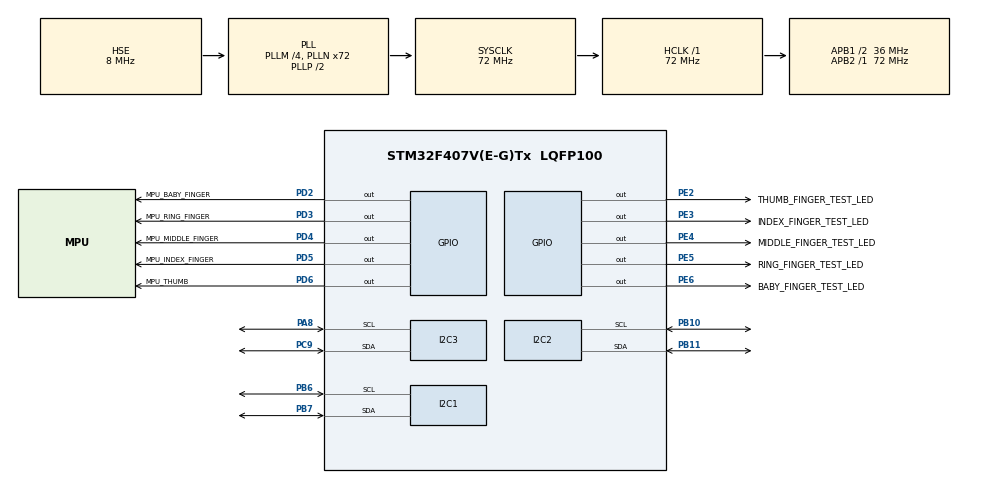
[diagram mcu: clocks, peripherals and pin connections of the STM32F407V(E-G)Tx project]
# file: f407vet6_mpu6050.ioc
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Mcu.Family=STM32F4
Mcu.Name=STM32F407V(E-G)Tx
Mcu.Package=LQFP100
NVIC.PriorityGroup=NVIC_PRIORITYGROUP_4
PA8.Mode=I2C
PA8.Signal=I2C3_SCL
PB10.Mode=I2C
PB10.Signal=I2C2_SCL
PB11.Mode=I2C
PB11.Signal=I2C2_SDA
PB6.Mode=I2C
PB6.Signal=I2C1_SCL
PB7.Mode=I2C
PB7.Signal=I2C1_SDA
PC9.Mode=I2C
PC9.Signal=I2C3_SDA
PD2.GPIO_Label=MPU_BABY_FINGER
PD2.PinState=GPIO_PIN_SET
PD2.Signal=GPIO_Output
PD3.GPIO_Label=MPU_RING_FINGER
PD3.Signal=GPIO_Output
PD4.GPIO_Label=MPU_MIDDLE_FINGER
PD4.PinState=GPIO_PIN_SET
PD4.Signal=GPIO_Output
PD5.GPIO_Label=MPU_INDEX_FINGER
PD5.Signal=GPIO_Output
PD6.GPIO_Label=MPU_THUMB
PD6.PinState=GPIO_PIN_SET
PD6.Signal=GPIO_Output
PE2.GPIO_Label=THUMB_FINGER_TEST_LED
PE2.Signal=GPIO_Output
PE3.GPIO_Label=INDEX_FINGER_TEST_LED
PE3.Signal=GPIO_Output
PE4.GPIO_Label=MIDDLE_FINGER_TEST_LED
PE4.Signal=GPIO_Output
PE5.GPIO_Label=RING_FINGER_TEST_LED
PE5.Signal=GPIO_Output
PE6.GPIO_Label=BABY_FINGER_TEST_LED
PE6.Signal=GPIO_Output
PH0-OSC_IN.Mode=HSE-External-Oscillator
PH0-OSC_IN.Signal=RCC_OSC_IN
PH1-OSC_OUT.Mode=HSE-External-Oscillator
PH1-OSC_OUT.Signal=RCC_OSC_OUT
ProjectManager.HeapSize=0x200
ProjectManager.StackSize=0x400
ProjectManager.TargetToolchain=STM32CubeIDE
RCC.48MHZClocksFreq_Value=36000000
RCC.AHBFreq_Value=72000000
RCC.APB1CLKDivider=RCC_HCLK_DIV2
RCC.APB1Freq_Value=36000000
RCC.APB1TimFreq_Value=72000000
RCC.APB2Freq_Value=72000000
RCC.APB2TimFreq_Value=72000000
RCC.CortexFreq_Value=72000000
RCC.HCLKFreq_Value=72000000
RCC.HSE_VALUE=8000000
RCC.HSI_VALUE=16000000
RCC.LSE_VALUE=32768
RCC.PLLM=4
RCC.PLLN=72
RCC.PLLSourceVirtual=RCC_PLLSOURCE_HSE
RCC.SYSCLKFreq_VALUE=72000000
RCC.SYSCLKSource=RCC_SYSCLKSOURCE_PLLCLK
RCC.VCOOutputFreq_Value=144000000
board=custom

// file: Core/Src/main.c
/* USER CODE BEGIN Header */
/**
  ******************************************************************************
  * @file           : main.c
  * @brief          : Main program body
  ******************************************************************************
  * @attention
  *
  * Copyright (c) 2025 STMicroelectronics.
  * All rights reserved.
  *
  * This software is licensed under terms that can be found in the LICENSE file
  * in the root directory of this software component.
  * If no LICENSE file comes with this software, it is provided AS-IS.
  *
  ******************************************************************************
  */
/* USER CODE END Header */
#include "main.h"

/* USER CODE BEGIN Includes */
#include <mpu5060.h>
/* USER CODE END Includes */

I2C_HandleTypeDef hi2c1;
I2C_HandleTypeDef hi2c2;
I2C_HandleTypeDef hi2c3;

/* USER CODE BEGIN PV */
//TODO: THESE ARE VARIABLES FOR DEBUGGING, THIS SHOULD BE REMOVED IN THE FUTURE
int16_t GYRO_X_THUMB = 0;
int16_t GYRO_Y_THUMB = 0;
int16_t GYRO_Z_THUMB = 0;
int16_t ACCEL_X_THUMB = 0;
int16_t ACCEL_Y_THUMB = 0;
int16_t ACCEL_Z_THUMB = 0;

int16_t GYRO_X_INDEX = 0;
int16_t GYRO_Y_INDEX = 0;
int16_t GYRO_Z_INDEX = 0;
int16_t ACCEL_X_INDEX = 0;
int16_t ACCEL_Y_INDEX = 0;
int16_t ACCEL_Z_INDEX = 0;

int16_t GYRO_X_MIDDLE = 0;
int16_t GYRO_Y_MIDDLE = 0;
int16_t GYRO_Z_MIDDLE = 0;
int16_t ACCEL_X_MIDDLE = 0;
int16_t ACCEL_Y_MIDDLE = 0;
int16_t ACCEL_Z_MIDDLE = 0;

int16_t GYRO_X_RING = 0;
int16_t GYRO_Y_RING = 0;
int16_t GYRO_Z_RING = 0;
int16_t ACCEL_X_RING = 0;
int16_t ACCEL_Y_RING = 0;
int16_t ACCEL_Z_RING = 0;

int16_t GYRO_X_BABY = 0;
int16_t GYRO_Y_BABY = 0;
int16_t GYRO_Z_BABY = 0;
int16_t ACCEL_X_BABY = 0;
int16_t ACCEL_Y_BABY = 0;
int16_t ACCEL_Z_BABY = 0;
/* USER CODE END PV */

void SystemClock_Config(void);
static void MX_GPIO_Init(void);
static void MX_I2C1_Init(void);
static void MX_I2C2_Init(void);
static void MX_I2C3_Init(void);

int main(void)
{

  /* MCU Configuration--------------------------------------------------------*/

  /* Reset of all peripherals, Initializes the Flash interface and the Systick. */
  HAL_Init();

  /* Configure the system clock */
  SystemClock_Config();

  /* Initialize all configured peripherals */
  MX_GPIO_Init();
  MX_I2C1_Init();
  MX_I2C2_Init();
  MX_I2C3_Init();
  /* USER CODE BEGIN 2 */
  DataLeftHand left_hand;

  mpu5060_check_sensors();
  mpu5060_register_configuration();
  /* USER CODE END 2 */

  /* Infinite loop */
  /* USER CODE BEGIN WHILE */
  while (1)
  {
	  mpu_5060_read_gyro(&left_hand);

	  //TODO: THESE ARE VARIABLES FOR DEBUGGING, THIS SHOULD BE REMOVED IN THE FUTURE
	  GYRO_X_THUMB = left_hand.GYRO_DATA_X_THUMB;
	  GYRO_Y_THUMB = left_hand.GYRO_DATA_Y_THUMB;
	  GYRO_Z_THUMB = left_hand.GYRO_DATA_Z_THUMB;
	  ACCEL_X_THUMB = left_hand.ACCEL_DATA_X_THUMB;
	  ACCEL_Y_THUMB = left_hand.ACCEL_DATA_Y_THUMB;
	  ACCEL_Z_THUMB = left_hand.ACCEL_DATA_Z_THUMB;

	  GYRO_X_INDEX = left_hand.GYRO_DATA_X_INDEX;
	  GYRO_Y_INDEX = left_hand.GYRO_DATA_Y_INDEX;
	  GYRO_Z_INDEX = left_hand.GYRO_DATA_Z_INDEX;
	  ACCEL_X_INDEX = left_hand.ACCEL_DATA_X_INDEX;
	  ACCEL_Y_INDEX = left_hand.ACCEL_DATA_Y_INDEX;
	  ACCEL_Z_INDEX = left_hand.ACCEL_DATA_Z_INDEX;

	  GYRO_X_RING = left_hand.GYRO_DATA_X_RING;
	  GYRO_Y_RING = left_hand.GYRO_DATA_Y_RING;
	  GYRO_Z_RING = left_hand.GYRO_DATA_Z_RING;
	  ACCEL_X_RING = left_hand.ACCEL_DATA_X_RING;
	  ACCEL_Y_RING = left_hand.ACCEL_DATA_Y_RING;
	  ACCEL_Z_RING = left_hand.ACCEL_DATA_Z_RING;
	  /* */

    /* USER CODE END WHILE */

  }
}

void SystemClock_Config(void)
{
  RCC_OscInitTypeDef RCC_OscInitStruct = {0};
  RCC_ClkInitTypeDef RCC_ClkInitStruct = {0};

  /** Configure the main internal regulator output voltage
  */
  __HAL_RCC_PWR_CLK_ENABLE();
  __HAL_PWR_VOLTAGESCALING_CONFIG(PWR_REGULATOR_VOLTAGE_SCALE1);

  /** Initializes the RCC Oscillators according to the specified parameters
  * in the RCC_OscInitTypeDef structure.
  */
  RCC_OscInitStruct.OscillatorType = RCC_OSCILLATORTYPE_HSE;
  RCC_OscInitStruct.HSEState = RCC_HSE_ON;
  RCC_OscInitStruct.PLL.PLLState = RCC_PLL_ON;
  RCC_OscInitStruct.PLL.PLLSource = RCC_PLLSOURCE_HSE;
  RCC_OscInitStruct.PLL.PLLM = 4;
  RCC_OscInitStruct.PLL.PLLN = 72;
  RCC_OscInitStruct.PLL.PLLP = RCC_PLLP_DIV2;
  RCC_OscInitStruct.PLL.PLLQ = 4;
  if (HAL_RCC_OscConfig(&RCC_OscInitStruct) != HAL_OK)
  {
    Error_Handler();
  }

  /** Initializes the CPU, AHB and APB buses clocks
  */
  RCC_ClkInitStruct.ClockType = RCC_CLOCKTYPE_HCLK|RCC_CLOCKTYPE_SYSCLK
                              |RCC_CLOCKTYPE_PCLK1|RCC_CLOCKTYPE_PCLK2;
  RCC_ClkInitStruct.SYSCLKSource = RCC_SYSCLKSOURCE_PLLCLK;
  RCC_ClkInitStruct.AHBCLKDivider = RCC_SYSCLK_DIV1;
  RCC_ClkInitStruct.APB1CLKDivider = RCC_HCLK_DIV2;
  RCC_ClkInitStruct.APB2CLKDivider = RCC_HCLK_DIV1;

  if (HAL_RCC_ClockConfig(&RCC_ClkInitStruct, FLASH_LATENCY_2) != HAL_OK)
  {
    Error_Handler();
  }
}

static void MX_I2C1_Init(void)
{

  hi2c1.Instance = I2C1;
  hi2c1.Init.ClockSpeed = 100000;
  hi2c1.Init.DutyCycle = I2C_DUTYCYCLE_2;
  hi2c1.Init.OwnAddress1 = 0;
  hi2c1.Init.AddressingMode = I2C_ADDRESSINGMODE_7BIT;
  hi2c1.Init.DualAddressMode = I2C_DUALADDRESS_DISABLE;
  hi2c1.Init.OwnAddress2 = 0;
  hi2c1.Init.GeneralCallMode = I2C_GENERALCALL_DISABLE;
  hi2c1.Init.NoStretchMode = I2C_NOSTRETCH_DISABLE;
  if (HAL_I2C_Init(&hi2c1) != HAL_OK)
  {
    Error_Handler();
  }

}

static void MX_I2C2_Init(void)
{

  hi2c2.Instance = I2C2;
  hi2c2.Init.ClockSpeed = 100000;
  hi2c2.Init.DutyCycle = I2C_DUTYCYCLE_2;
  hi2c2.Init.OwnAddress1 = 0;
  hi2c2.Init.AddressingMode = I2C_ADDRESSINGMODE_7BIT;
  hi2c2.Init.DualAddressMode = I2C_DUALADDRESS_DISABLE;
  hi2c2.Init.OwnAddress2 = 0;
  hi2c2.Init.GeneralCallMode = I2C_GENERALCALL_DISABLE;
  hi2c2.Init.NoStretchMode = I2C_NOSTRETCH_DISABLE;
  if (HAL_I2C_Init(&hi2c2) != HAL_OK)
  {
    Error_Handler();
  }

}

static void MX_I2C3_Init(void)
{

  hi2c3.Instance = I2C3;
  hi2c3.Init.ClockSpeed = 100000;
  hi2c3.Init.DutyCycle = I2C_DUTYCYCLE_2;
  hi2c3.Init.OwnAddress1 = 0;
  hi2c3.Init.AddressingMode = I2C_ADDRESSINGMODE_7BIT;
  hi2c3.Init.DualAddressMode = I2C_DUALADDRESS_DISABLE;
  hi2c3.Init.OwnAddress2 = 0;
  hi2c3.Init.GeneralCallMode = I2C_GENERALCALL_DISABLE;
  hi2c3.Init.NoStretchMode = I2C_NOSTRETCH_DISABLE;
  if (HAL_I2C_Init(&hi2c3) != HAL_OK)
  {
    Error_Handler();
  }

}

static void MX_GPIO_Init(void)
{
  GPIO_InitTypeDef GPIO_InitStruct = {0};

  /* GPIO Ports Clock Enable */
  __HAL_RCC_GPIOE_CLK_ENABLE();
  __HAL_RCC_GPIOH_CLK_ENABLE();
  __HAL_RCC_GPIOB_CLK_ENABLE();
  __HAL_RCC_GPIOC_CLK_ENABLE();
  __HAL_RCC_GPIOA_CLK_ENABLE();
  __HAL_RCC_GPIOD_CLK_ENABLE();

  /*Configure GPIO pin Output Level */
  HAL_GPIO_WritePin(GPIOE, THUMB_FINGER_TEST_LED_Pin|INDEX_FINGER_TEST_LED_Pin|MIDDLE_FINGER_TEST_LED_Pin|RING_FINGER_TEST_LED_Pin
                          |BABY_FINGER_TEST_LED_Pin, GPIO_PIN_RESET);

  /*Configure GPIO pin Output Level */
  HAL_GPIO_WritePin(GPIOD, MPU_BABY_FINGER_Pin|MPU_MIDDLE_FINGER_Pin|MPU_THUMB_Pin, GPIO_PIN_SET);

  /*Configure GPIO pin Output Level */
  HAL_GPIO_WritePin(GPIOD, MPU_RING_FINGER_Pin|MPU_INDEX_FINGER_Pin, GPIO_PIN_RESET);

  /*Configure GPIO pins : THUMB_FINGER_TEST_LED_Pin INDEX_FINGER_TEST_LED_Pin MIDDLE_FINGER_TEST_LED_Pin RING_FINGER_TEST_LED_Pin
                           BABY_FINGER_TEST_LED_Pin */
  GPIO_InitStruct.Pin = THUMB_FINGER_TEST_LED_Pin|INDEX_FINGER_TEST_LED_Pin|MIDDLE_FINGER_TEST_LED_Pin|RING_FINGER_TEST_LED_Pin
                          |BABY_FINGER_TEST_LED_Pin;
  GPIO_InitStruct.Mode = GPIO_MODE_OUTPUT_PP;
  GPIO_InitStruct.Pull = GPIO_NOPULL;
  GPIO_InitStruct.Speed = GPIO_SPEED_FREQ_LOW;
  HAL_GPIO_Init(GPIOE, &GPIO_InitStruct);

  /*Configure GPIO pins : MPU_BABY_FINGER_Pin MPU_RING_FINGER_Pin MPU_MIDDLE_FINGER_Pin MPU_INDEX_FINGER_Pin
                           MPU_THUMB_Pin */
  GPIO_InitStruct.Pin = MPU_BABY_FINGER_Pin|MPU_RING_FINGER_Pin|MPU_MIDDLE_FINGER_Pin|MPU_INDEX_FINGER_Pin
                          |MPU_THUMB_Pin;
  GPIO_InitStruct.Mode = GPIO_MODE_OUTPUT_PP;
  GPIO_InitStruct.Pull = GPIO_NOPULL;
  GPIO_InitStruct.Speed = GPIO_SPEED_FREQ_LOW;
  HAL_GPIO_Init(GPIOD, &GPIO_InitStruct);

}

void Error_Handler(void)
{
  __disable_irq();
  while (1)
  {
  }
}
